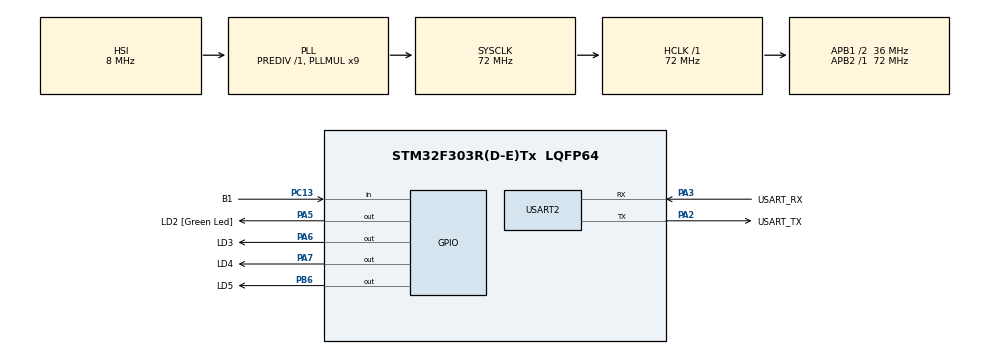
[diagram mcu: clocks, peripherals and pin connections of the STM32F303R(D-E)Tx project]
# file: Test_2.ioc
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Mcu.Family=STM32F3
PC15-OSC32_OUT.Mode=LSE-External-Oscillator
PA2.GPIO_PuPd=GPIO_NOPULL
RCC.CortexFreq_Value=72000000
PC13.Signal=GPIO_Input
PA14.GPIO_Label=TCK
RCC.SYSCLKSourceVirtual=RCC_SYSCLKSOURCE_PLLCLK
PA3.GPIO_PuPd=GPIO_NOPULL
PA2.GPIO_Speed=GPIO_SPEED_FREQ_LOW
PA6.GPIO_Label=LD3
PB6.GPIO_Label=LD5
PC13.GPIO_Label=B1
RCC.APB1CLKDivider=RCC_HCLK_DIV2
PC14-OSC32_IN.Signal=RCC_OSC32_IN
PA3.GPIO_Speed=GPIO_SPEED_FREQ_LOW
RCC.RCC_PERIPHCLK_I2SVar=RCC_PERIPHCLK_I2S
ProjectManager.StackSize=0x400
PA13.Signal=SYS_JTMS-SWDIO
PA3.Mode=Asynchronous
ProjectManager.TargetToolchain=STM32CubeIDE
PA3.GPIO_Mode=GPIO_MODE_AF_PP
RCC.HCLKFreq_Value=72000000
RCC.APB2TimFreq_Value=72000000
PB6.Signal=GPIO_Output
RCC.USBFreq_Value=72000000
PC15-OSC32_OUT.Signal=RCC_OSC32_OUT
RCC.AHBFreq_Value=72000000
PF0-OSC_IN.Mode=HSE-External-Clock-Source
PA5.Signal=GPIO_Output
RCC.HSE_VALUE=8000000
board=NUCLEO-F303RE
USART2.VirtualMode-Asynchronous=VM_ASYNC
RCC.RCC_PLLsource_Clock_Source_FROM_HSE=RCC_HSE_PREDIV_DIV2
RCC.PLLMUL=RCC_PLL_MUL9
RCC.APB2Freq_Value=72000000
PC14-OSC32_IN.Mode=LSE-External-Oscillator
PA14.Mode=Serial_Wire
PA5.GPIO_PuPd=GPIO_NOPULL
PA13.Mode=Serial_Wire
Mcu.Name=STM32F303R(D-E)Tx
PA2.Signal=USART2_TX
PA13.GPIO_Label=TMS
PB3.Signal=SYS_JTDO-TRACESWO
RCC.SYSCLKFreq_VALUE=72000000
Mcu.Package=LQFP64
PA6.Signal=GPIO_Output
PA7.GPIO_Label=LD4
PA5.GPIO_Label=LD2 [Green Led]
PA2.GPIO_Label=USART_TX
PA14.Signal=SYS_JTCK-SWCLK
ProjectManager.HeapSize=0x200
RCC.HSI_VALUE=8000000
RCC.PLLP=RCC_PLLP_DIV4
PA5.GPIO_Speed=GPIO_SPEED_FREQ_LOW
RCC.PLLQ=7
NVIC.PriorityGroup=NVIC_PRIORITYGROUP_0
RCC.PLLM=8
RCC.PLLN=336
RCC.APB1TimFreq_Value=72000000
PA2.Mode=Asynchronous
PF0-OSC_IN.Signal=RCC_OSC_IN
RCC.APB1Freq_Value=36000000
PA5.GPIO_Mode=GPIO_MODE_OUTPUT_PP
PF1-OSC_OUT.Signal=RCC_OSC_OUT
PA3.GPIO_Label=USART_RX
PA3.Signal=USART2_RX
PA7.Signal=GPIO_Output
PA2.GPIO_Mode=GPIO_MODE_AF_PP
PB3.GPIO_Label=SWO

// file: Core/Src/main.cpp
/* USER CODE BEGIN Header */
/**
  ******************************************************************************
  * @file           : main.c
  * @brief          : Main program body
  ******************************************************************************
  * @attention
  *
  * <h2><center>&copy; Copyright (c) 2022 STMicroelectronics.
  * All rights reserved.</center></h2>
  *
  * This software component is licensed by ST under BSD 3-Clause license,
  * the "License"; You may not use this file except in compliance with the
  * License. You may obtain a copy of the License at:
  *                        opensource.org/licenses/BSD-3-Clause
  *
  ******************************************************************************
  */
/* USER CODE END Header */
#include "main.h"
#include "usart.h"
#include "gpio.h"

/* USER CODE BEGIN Includes */
#include "CBlueLed.h"
/* USER CODE END Includes */

/* USER CODE BEGIN PV */
uint32_t timerLed2;
uint32_t timerLed3;
uint32_t timerLed4;
uint16_t breakTime1;
uint16_t breakTime2;
uint16_t breakTime3;
/* USER CODE END PV */

void SystemClock_Config(void);

int main(void)
{

  /* MCU Configuration--------------------------------------------------------*/

  /* Reset of all peripherals, Initializes the Flash interface and the Systick. */
  HAL_Init();

  /* Configure the system clock */
  SystemClock_Config();

  /* Initialize all configured peripherals */
  MX_GPIO_Init();
  MX_USART2_UART_Init();
  /* USER CODE BEGIN 2 */
  timerLed2 = HAL_GetTick();
  breakTime1 = 1000;
  breakTime2 = 2500;
  breakTime3 = 3700;

  CBlueLed bl;
  /* USER CODE END 2 */

  /* Infinite loop */
  /* USER CODE BEGIN WHILE */
  while (1)
  {

	  if((HAL_GetTick() - timerLed2) > breakTime1)
	  {
		  timerLed2 = HAL_GetTick();
		  HAL_GPIO_TogglePin(LD2_GPIO_Port, LD2_Pin);
	  }

	  if((HAL_GetTick() - timerLed3) > breakTime2)
	  {
		  timerLed3 = HAL_GetTick();
		  HAL_GPIO_TogglePin(LD3_GPIO_Port, LD3_Pin);
	  }

	  if((HAL_GetTick() - timerLed4) > breakTime3)
	  {
		  timerLed4 = HAL_GetTick();
		  HAL_GPIO_TogglePin(LD4_GPIO_Port, LD4_Pin);
	  }

	  //bl.setTimer();
	  //bl.togglePin();

	  bl.setState();

//	  HAL_GPIO_WritePin(LD2_GPIO_Port, LD2_Pin, GPIO_PIN_SET);
//	  HAL_Delay(500);
//	  HAL_GPIO_WritePin(LD2_GPIO_Port, LD2_Pin, GPIO_PIN_RESET);
//	  HAL_Delay(500);

//	  if(GPIO_PIN_RESET == HAL_GPIO_ReadPin(B1_GPIO_Port, B1_Pin))
//	  {
//		  HAL_GPIO_WritePin(LD2_GPIO_Port, LD2_Pin, GPIO_PIN_SET);
//	  }
//	  else
//	  {
//		  HAL_GPIO_WritePin(LD2_GPIO_Port, LD2_Pin, GPIO_PIN_RESET);
//	  }

    /* USER CODE END WHILE */

  }
}

void SystemClock_Config(void)
{
  RCC_OscInitTypeDef RCC_OscInitStruct = {0};
  RCC_ClkInitTypeDef RCC_ClkInitStruct = {0};
  RCC_PeriphCLKInitTypeDef PeriphClkInit = {0};

  /** Initializes the RCC Oscillators according to the specified parameters
  * in the RCC_OscInitTypeDef structure.
  */
  RCC_OscInitStruct.OscillatorType = RCC_OSCILLATORTYPE_HSI;
  RCC_OscInitStruct.HSIState = RCC_HSI_ON;
  RCC_OscInitStruct.HSICalibrationValue = RCC_HSICALIBRATION_DEFAULT;
  RCC_OscInitStruct.PLL.PLLState = RCC_PLL_ON;
  RCC_OscInitStruct.PLL.PLLSource = RCC_PLLSOURCE_HSI;
  RCC_OscInitStruct.PLL.PLLMUL = RCC_PLL_MUL9;
  RCC_OscInitStruct.PLL.PREDIV = RCC_PREDIV_DIV1;
  if (HAL_RCC_OscConfig(&RCC_OscInitStruct) != HAL_OK)
  {
    Error_Handler();
  }
  /** Initializes the CPU, AHB and APB buses clocks
  */
  RCC_ClkInitStruct.ClockType = RCC_CLOCKTYPE_HCLK|RCC_CLOCKTYPE_SYSCLK
                              |RCC_CLOCKTYPE_PCLK1|RCC_CLOCKTYPE_PCLK2;
  RCC_ClkInitStruct.SYSCLKSource = RCC_SYSCLKSOURCE_PLLCLK;
  RCC_ClkInitStruct.AHBCLKDivider = RCC_SYSCLK_DIV1;
  RCC_ClkInitStruct.APB1CLKDivider = RCC_HCLK_DIV2;
  RCC_ClkInitStruct.APB2CLKDivider = RCC_HCLK_DIV1;

  if (HAL_RCC_ClockConfig(&RCC_ClkInitStruct, FLASH_LATENCY_2) != HAL_OK)
  {
    Error_Handler();
  }
  PeriphClkInit.PeriphClockSelection = RCC_PERIPHCLK_I2S|RCC_PERIPHCLK_USART2;
  PeriphClkInit.Usart2ClockSelection = RCC_USART2CLKSOURCE_PCLK1;
  if (HAL_RCCEx_PeriphCLKConfig(&PeriphClkInit) != HAL_OK)
  {
    Error_Handler();
  }
}

void Error_Handler(void)
{
  __disable_irq();
  while (1)
  {
  }
}

/************************ (C) COPYRIGHT STMicroelectronics *****END OF FILE****/
